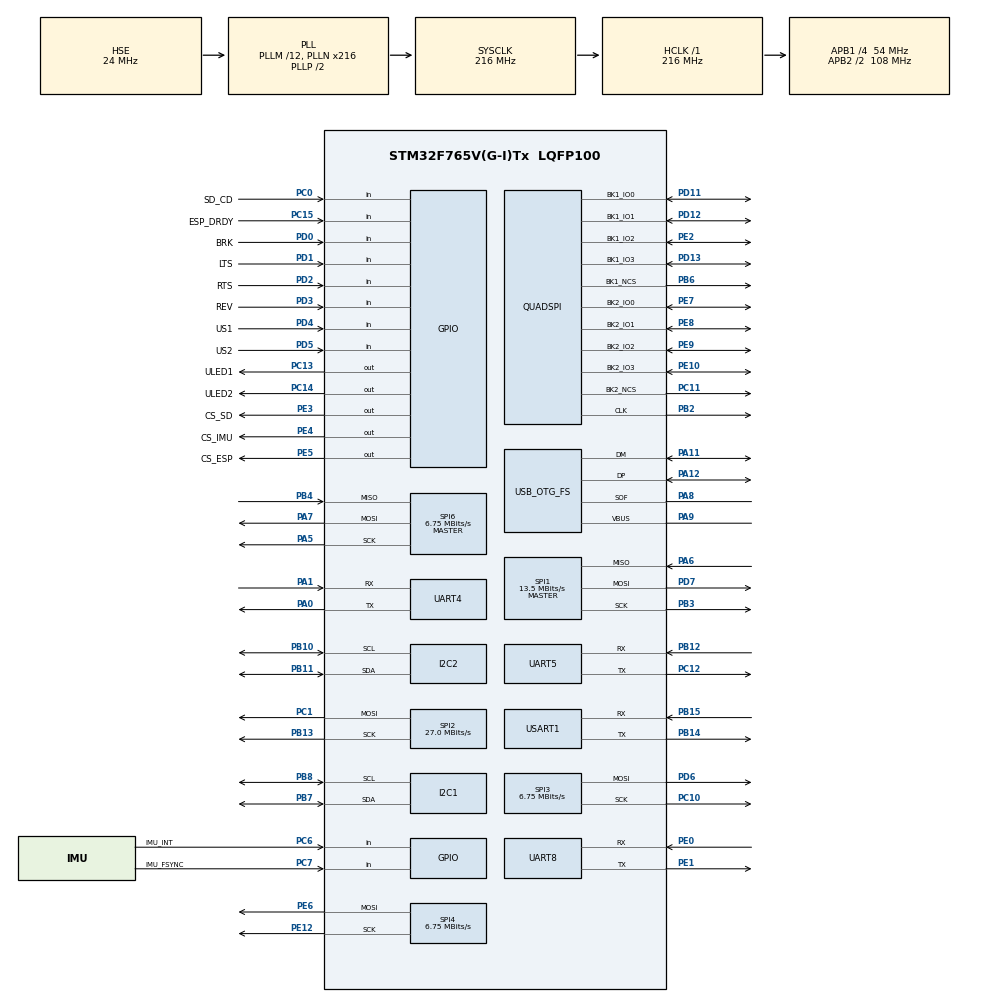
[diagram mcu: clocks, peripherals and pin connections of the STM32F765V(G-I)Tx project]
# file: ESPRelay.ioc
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FREERTOS.Tasks01=defaultTask,0,128,StartDefaultTask,Default,NULL
I2C1.Timing=0x20404768
I2C2.Timing=0x20404768
Mcu.Family=STM32F7
Mcu.Name=STM32F765V(G-I)Tx
Mcu.Package=LQFP100
NVIC.FLASH_IRQn=true\:5\:0\:false\:false\:true\:true\:true
NVIC.FPU_IRQn=true\:5\:0\:false\:false\:true\:true\:true
NVIC.I2C1_ER_IRQn=true\:5\:0\:false\:false\:true\:true\:true
NVIC.I2C1_EV_IRQn=true\:5\:0\:false\:false\:true\:true\:true
NVIC.I2C2_ER_IRQn=true\:5\:0\:false\:false\:true\:true\:true
NVIC.I2C2_EV_IRQn=true\:5\:0\:false\:false\:true\:true\:true
NVIC.OTG_FS_IRQn=true\:5\:0\:false\:false\:true\:true\:false
NVIC.PVD_IRQn=true\:5\:0\:false\:false\:true\:true\:true
NVIC.PriorityGroup=NVIC_PRIORITYGROUP_4
NVIC.QUADSPI_IRQn=true\:5\:0\:false\:false\:true\:true\:true
NVIC.RCC_IRQn=true\:5\:0\:false\:false\:true\:true\:true
NVIC.SPI1_IRQn=true\:5\:0\:false\:false\:true\:true\:true
NVIC.SPI2_IRQn=true\:5\:0\:false\:false\:true\:true\:true
NVIC.SPI3_IRQn=true\:5\:0\:false\:false\:true\:true\:true
NVIC.SPI4_IRQn=true\:5\:0\:false\:false\:true\:true\:true
NVIC.SPI6_IRQn=true\:5\:0\:false\:false\:true\:true\:true
NVIC.TIM7_IRQn=true\:0\:0\:false\:false\:true\:false\:false
NVIC.TimeBase=TIM7_IRQn
NVIC.TimeBaseIP=TIM7
NVIC.UART4_IRQn=true\:5\:0\:false\:false\:true\:true\:true
NVIC.UART5_IRQn=true\:5\:0\:false\:false\:true\:true\:true
NVIC.UART8_IRQn=true\:5\:0\:false\:false\:true\:true\:true
NVIC.USART1_IRQn=true\:5\:0\:false\:false\:true\:true\:true
PA0/WKUP.Mode=Asynchronous
PA0/WKUP.Signal=UART4_TX
PA1.Mode=Asynchronous
PA1.Signal=UART4_RX
PA11.Mode=Device_Only
PA11.Signal=USB_OTG_FS_DM
PA12.Mode=Device_Only
PA12.Signal=USB_OTG_FS_DP
PA13.Mode=Serial_Wire
PA13.Signal=SYS_JTMS-SWDIO
PA14.Mode=Serial_Wire
PA14.Signal=SYS_JTCK-SWCLK
PA5.Mode=Full_Duplex_Master
PA5.Signal=SPI6_SCK
PA6.Mode=Full_Duplex_Master
PA6.Signal=SPI1_MISO
PA7.Mode=Full_Duplex_Master
PA7.Signal=SPI6_MOSI
PA8.Mode=Activate_SOF_FS
PA8.Signal=USB_OTG_FS_SOF
PA9.Mode=Activate_VBUS
PA9.Signal=USB_OTG_FS_VBUS
PB10.Mode=I2C
PB10.Signal=I2C2_SCL
PB11.Mode=I2C
PB11.Signal=I2C2_SDA
PB12.Mode=Asynchronous
PB12.Signal=UART5_RX
PB13.Mode=TX_Only_Simplex_Unidirect_Master
PB13.Signal=SPI2_SCK
PB14.Mode=Asynchronous
PB14.Signal=USART1_TX
PB15.Mode=Asynchronous
PB15.Signal=USART1_RX
PB2.Mode=Dual Bank
PB2.Signal=QUADSPI_CLK
PB3.Mode=Full_Duplex_Master
PB3.Signal=SPI1_SCK
PB4.Mode=Full_Duplex_Master
PB4.Signal=SPI6_MISO
PB6.Mode=Enable Chip Select for each bank
PB6.Signal=QUADSPI_BK1_NCS
PB7.Mode=I2C
PB7.Signal=I2C1_SDA
PB8.Mode=I2C
PB8.Signal=I2C1_SCL
PC0.GPIO_Label=SD_CD
PC0.Signal=GPIO_Input
PC1.Mode=TX_Only_Simplex_Unidirect_Master
PC1.Signal=SPI2_MOSI
PC10.Mode=TX_Only_Simplex_Unidirect_Master
PC10.Signal=SPI3_SCK
PC11.Mode=Enable Chip Select for each bank
PC11.Signal=QUADSPI_BK2_NCS
PC12.Mode=Asynchronous
PC12.Signal=UART5_TX
PC13.GPIO_Label=ULED1
PC13.PinState=GPIO_PIN_SET
PC13.Signal=GPIO_Output
PC14/OSC32_IN.GPIO_Label=ULED2
PC14/OSC32_IN.GPIO_PuPd=GPIO_NOPULL
PC14/OSC32_IN.PinState=GPIO_PIN_SET
PC14/OSC32_IN.Signal=GPIO_Output
PC15/OSC32_OUT.GPIO_Label=ESP_DRDY
PC15/OSC32_OUT.Signal=GPIO_Input
PC6.GPIO_Label=IMU_INT
PC6.Signal=GPIO_Input
PC7.GPIO_Label=IMU_FSYNC
PC7.Signal=GPIO_Input
PD0.GPIO_Label=BRK
PD0.Signal=GPIO_Input
PD1.GPIO_Label=LTS
PD1.Signal=GPIO_Input
PD11.Mode=Dual Bank
PD11.Signal=QUADSPI_BK1_IO0
PD12.Mode=Dual Bank
PD12.Signal=QUADSPI_BK1_IO1
PD13.Mode=Dual Bank
PD13.Signal=QUADSPI_BK1_IO3
PD2.GPIO_Label=RTS
PD2.Signal=GPIO_Input
PD3.GPIO_Label=REV
PD3.Signal=GPIO_Input
PD4.GPIO_Label=US1
PD4.Signal=GPIO_Input
PD5.GPIO_Label=US2
PD5.Signal=GPIO_Input
PD6.Mode=TX_Only_Simplex_Unidirect_Master
PD6.Signal=SPI3_MOSI
PD7.Mode=Full_Duplex_Master
PD7.Signal=SPI1_MOSI
PE0.Mode=Asynchronous
PE0.Signal=UART8_RX
PE1.Mode=Asynchronous
PE1.Signal=UART8_TX
PE10.Mode=Dual Bank
PE10.Signal=QUADSPI_BK2_IO3
PE12.Mode=TX_Only_Simplex_Unidirect_Master
PE12.Signal=SPI4_SCK
PE2.Mode=Dual Bank
PE2.Signal=QUADSPI_BK1_IO2
PE3.GPIO_Label=CS_SD
PE3.GPIO_Speed=GPIO_SPEED_FREQ_VERY_HIGH
PE3.PinState=GPIO_PIN_SET
PE3.Signal=GPIO_Output
PE4.GPIO_Label=CS_IMU
PE4.GPIO_PuPd=GPIO_NOPULL
PE4.GPIO_Speed=GPIO_SPEED_FREQ_VERY_HIGH
PE4.PinState=GPIO_PIN_SET
PE4.Signal=GPIO_Output
PE5.GPIO_Label=CS_ESP
PE5.GPIO_PuPd=GPIO_NOPULL
PE5.GPIO_Speed=GPIO_SPEED_FREQ_VERY_HIGH
PE5.PinState=GPIO_PIN_SET
PE5.Signal=GPIO_Output
PE6.Mode=TX_Only_Simplex_Unidirect_Master
PE6.Signal=SPI4_MOSI
PE7.Mode=Dual Bank
PE7.Signal=QUADSPI_BK2_IO0
PE8.Mode=Dual Bank
PE8.Signal=QUADSPI_BK2_IO1
PE9.Mode=Dual Bank
PE9.Signal=QUADSPI_BK2_IO2
PH0/OSC_IN.Mode=HSE-External-Oscillator
PH0/OSC_IN.Signal=RCC_OSC_IN
PH1/OSC_OUT.Mode=HSE-External-Oscillator
PH1/OSC_OUT.Signal=RCC_OSC_OUT
ProjectManager.HeapSize=0x200
ProjectManager.StackSize=0x400
ProjectManager.TargetToolchain=TrueSTUDIO
QUADSPI.ClockMode=QSPI_CLOCK_MODE_3
QUADSPI.ClockPrescaler=64
RCC.AHBFreq_Value=216000000
RCC.APB1CLKDivider=RCC_HCLK_DIV4
RCC.APB1Freq_Value=54000000
RCC.APB1TimFreq_Value=108000000
RCC.APB2CLKDivider=RCC_HCLK_DIV2
RCC.APB2Freq_Value=108000000
RCC.APB2TimFreq_Value=216000000
RCC.CortexFreq_Value=216000000
RCC.HCLKFreq_Value=216000000
RCC.HSE_VALUE=24000000
RCC.HSI_VALUE=16000000
RCC.LSE_VALUE=32768
RCC.PLLM=12
RCC.PLLN=216
RCC.PLLQ=9
RCC.SYSCLKFreq_VALUE=216000000
RCC.SYSCLKSource=RCC_SYSCLKSOURCE_PLLCLK
RCC.USBFreq_Value=48000000
RCC.VCOOutputFreq_Value=432000000
SPI1.BaudRatePrescaler=SPI_BAUDRATEPRESCALER_8
SPI1.CLKPhase=SPI_PHASE_2EDGE
SPI1.CLKPolarity=SPI_POLARITY_HIGH
SPI1.CalculateBaudRate=13.5 MBits/s
SPI1.DataSize=SPI_DATASIZE_8BIT
SPI1.Direction=SPI_DIRECTION_2LINES
SPI1.Mode=SPI_MODE_MASTER
SPI1.VirtualType=VM_MASTER
SPI2.CalculateBaudRate=27.0 MBits/s
SPI2.Direction=SPI_DIRECTION_2LINES
SPI2.Mode=SPI_MODE_MASTER
SPI2.VirtualType=VM_MASTER
SPI3.BaudRatePrescaler=SPI_BAUDRATEPRESCALER_8
SPI3.CLKPhase=SPI_PHASE_2EDGE
SPI3.CLKPolarity=SPI_POLARITY_HIGH
SPI3.CalculateBaudRate=6.75 MBits/s
SPI3.DataSize=SPI_DATASIZE_8BIT
SPI3.Direction=SPI_DIRECTION_2LINES
SPI3.Mode=SPI_MODE_MASTER
SPI3.VirtualType=VM_MASTER
SPI4.BaudRatePrescaler=SPI_BAUDRATEPRESCALER_16
SPI4.CLKPhase=SPI_PHASE_2EDGE
SPI4.CLKPolarity=SPI_POLARITY_HIGH
SPI4.CalculateBaudRate=6.75 MBits/s
SPI4.DataSize=SPI_DATASIZE_8BIT
SPI4.Direction=SPI_DIRECTION_2LINES
SPI4.Mode=SPI_MODE_MASTER
SPI4.VirtualType=VM_MASTER
SPI6.BaudRatePrescaler=SPI_BAUDRATEPRESCALER_16
SPI6.CLKPhase=SPI_PHASE_2EDGE
SPI6.CLKPolarity=SPI_POLARITY_HIGH
SPI6.CalculateBaudRate=6.75 MBits/s
SPI6.DataSize=SPI_DATASIZE_8BIT
SPI6.Direction=SPI_DIRECTION_2LINES
SPI6.Mode=SPI_MODE_MASTER
SPI6.VirtualType=VM_MASTER
USART1.VirtualMode-Asynchronous=VM_ASYNC
USB_DEVICE.CLASS_NAME_FS=HID
USB_DEVICE.VirtualMode-HID_FS=Hid
USB_DEVICE.VirtualModeFS=Hid_FS
USB_OTG_FS.VirtualMode=Device_Only
VP_FREERTOS_VS_ENABLE.Mode=Enabled
VP_SYS_VS_tim7.Mode=TIM7
VP_USB_DEVICE_VS_USB_DEVICE_HID_FS.Mode=HID_FS
board=custom

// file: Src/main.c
/**
  ******************************************************************************
  * @file           : main.c
  * @brief          : Main program body
  ******************************************************************************
  * This notice applies to any and all portions of this file
  * that are not between comment pairs USER CODE BEGIN and
  * USER CODE END. Other portions of this file, whether
  * inserted by the user or by software development tools
  * are owned by their respective copyright owners.
  *
  * Copyright (c) 2018 STMicroelectronics International N.V.
  * All rights reserved.
  *
  * Redistribution and use in source and binary forms, with or without
  * modification, are permitted, provided that the following conditions are met:
  *
  * 1. Redistribution of source code must retain the above copyright notice,
  *    this list of conditions and the following disclaimer.
  * 2. Redistributions in binary form must reproduce the above copyright notice,
  *    this list of conditions and the following disclaimer in the documentation
  *    and/or other materials provided with the distribution.
  * 3. Neither the name of STMicroelectronics nor the names of other
  *    contributors to this software may be used to endorse or promote products
  *    derived from this software without specific written permission.
  * 4. This software, including modifications and/or derivative works of this
  *    software, must execute solely and exclusively on microcontroller or
  *    microprocessor devices manufactured by or for STMicroelectronics.
  * 5. Redistribution and use of this software other than as permitted under
  *    this license is void and will automatically terminate your rights under
  *    this license.
  *
  * THIS SOFTWARE IS PROVIDED BY STMICROELECTRONICS AND CONTRIBUTORS "AS IS"
  * AND ANY EXPRESS, IMPLIED OR STATUTORY WARRANTIES, INCLUDING, BUT NOT
  * LIMITED TO, THE IMPLIED WARRANTIES OF MERCHANTABILITY, FITNESS FOR A
  * PARTICULAR PURPOSE AND NON-INFRINGEMENT OF THIRD PARTY INTELLECTUAL PROPERTY
  * RIGHTS ARE DISCLAIMED TO THE FULLEST EXTENT PERMITTED BY LAW. IN NO EVENT
  * SHALL STMICROELECTRONICS OR CONTRIBUTORS BE LIABLE FOR ANY DIRECT, INDIRECT,
  * INCIDENTAL, SPECIAL, EXEMPLARY, OR CONSEQUENTIAL DAMAGES (INCLUDING, BUT NOT
  * LIMITED TO, PROCUREMENT OF SUBSTITUTE GOODS OR SERVICES; LOSS OF USE, DATA,
  * OR PROFITS; OR BUSINESS INTERRUPTION) HOWEVER CAUSED AND ON ANY THEORY OF
  * LIABILITY, WHETHER IN CONTRACT, STRICT LIABILITY, OR TORT (INCLUDING
  * NEGLIGENCE OR OTHERWISE) ARISING IN ANY WAY OUT OF THE USE OF THIS SOFTWARE,
  * EVEN IF ADVISED OF THE POSSIBILITY OF SUCH DAMAGE.
  *
  ******************************************************************************
  */
#include "main.h"
#include "stm32f7xx_hal.h"
#include "cmsis_os.h"
#include "i2c.h"
#include "quadspi.h"
#include "spi.h"
#include "usart.h"
#include "usb_device.h"
#include "gpio.h"

/* USER CODE BEGIN PV */
/* Private variables ---------------------------------------------------------*/

/* USER CODE END PV */

void SystemClock_Config(void);
void MX_FREERTOS_Init(void);

/* USER CODE BEGIN PFP */
/* Private function prototypes -----------------------------------------------*/

TaskHandle_t Relay_Task_Handle = NULL;
void Relay_Task(void* pvParameters )
{
	uint8_t rx_byte = 0;
	for(;;)
	{
		HAL_UART_Receive_IT(&huart4, &(rx_byte), 1);
		vTaskSuspend(NULL); // Task will suspend itself (NULL) until resumed externally (for example when UART ISR is called)
		HAL_UART_Transmit_IT(&huart4, &(rx_byte), 1);
		HAL_GPIO_TogglePin(ULED2_GPIO_Port, ULED2_Pin);
	}
}

TaskHandle_t Talk_Task_Handle = NULL;
void Talk_Task(void* pvParameters )
{
	TickType_t xDelay = 1000 / portTICK_PERIOD_MS;

	const uint8_t* msg = "Hello World!\n";
	for(;;)
	{
		vTaskDelay(xDelay);
		HAL_UART_Transmit_IT(&huart4, msg, sizeof(msg));
		HAL_GPIO_TogglePin(ULED1_GPIO_Port, ULED1_Pin);
	}
}

/* USER CODE END PFP */

int main(void)
{

  /* MCU Configuration----------------------------------------------------------*/

  /* Reset of all peripherals, Initializes the Flash interface and the Systick. */
  HAL_Init();

  /* Configure the system clock */
  SystemClock_Config();

  /* Initialize all configured peripherals */
  MX_GPIO_Init();
  MX_UART4_Init();
  MX_UART5_Init();
  MX_UART8_Init();
  MX_SPI1_Init();
  MX_SPI6_Init();
  MX_SPI3_Init();
  MX_SPI4_Init();
  MX_QUADSPI_Init();
  MX_I2C1_Init();
  MX_I2C2_Init();
  MX_SPI2_Init();
  MX_USART1_UART_Init();
  /* USER CODE BEGIN 2 */

  HAL_UART_MspInit(&huart4);

  xTaskCreate(Relay_Task,
  		  (const char* const)"Relay",
  		  configMINIMAL_STACK_SIZE,
  		  0,
  		  3,
  		  &Relay_Task_Handle);

  xTaskCreate(Talk_Task,
  		  (const char* const)"Talk",
  		  configMINIMAL_STACK_SIZE,
  		  0,
  		  3,
  		  &Talk_Task_Handle);
  /* USER CODE END 2 */

  /* Call init function for freertos objects (in freertos.c) */
  MX_FREERTOS_Init();

  /* Start scheduler */
  osKernelStart();

  /* We should never get here as control is now taken by the scheduler */

  /* Infinite loop */
  while (1)
  {

  }

}

void SystemClock_Config(void)
{

  RCC_OscInitTypeDef RCC_OscInitStruct;
  RCC_ClkInitTypeDef RCC_ClkInitStruct;
  RCC_PeriphCLKInitTypeDef PeriphClkInitStruct;

    /**Configure the main internal regulator output voltage
    */
  __HAL_RCC_PWR_CLK_ENABLE();

  __HAL_PWR_VOLTAGESCALING_CONFIG(PWR_REGULATOR_VOLTAGE_SCALE1);

    /**Initializes the CPU, AHB and APB busses clocks
    */
  RCC_OscInitStruct.OscillatorType = RCC_OSCILLATORTYPE_HSE;
  RCC_OscInitStruct.HSEState = RCC_HSE_ON;
  RCC_OscInitStruct.PLL.PLLState = RCC_PLL_ON;
  RCC_OscInitStruct.PLL.PLLSource = RCC_PLLSOURCE_HSE;
  RCC_OscInitStruct.PLL.PLLM = 12;
  RCC_OscInitStruct.PLL.PLLN = 216;
  RCC_OscInitStruct.PLL.PLLP = RCC_PLLP_DIV2;
  RCC_OscInitStruct.PLL.PLLQ = 9;
  if (HAL_RCC_OscConfig(&RCC_OscInitStruct) != HAL_OK)
  {
    _Error_Handler(__FILE__, __LINE__);
  }

    /**Activate the Over-Drive mode
    */
  if (HAL_PWREx_EnableOverDrive() != HAL_OK)
  {
    _Error_Handler(__FILE__, __LINE__);
  }

    /**Initializes the CPU, AHB and APB busses clocks
    */
  RCC_ClkInitStruct.ClockType = RCC_CLOCKTYPE_HCLK|RCC_CLOCKTYPE_SYSCLK
                              |RCC_CLOCKTYPE_PCLK1|RCC_CLOCKTYPE_PCLK2;
  RCC_ClkInitStruct.SYSCLKSource = RCC_SYSCLKSOURCE_PLLCLK;
  RCC_ClkInitStruct.AHBCLKDivider = RCC_SYSCLK_DIV1;
  RCC_ClkInitStruct.APB1CLKDivider = RCC_HCLK_DIV4;
  RCC_ClkInitStruct.APB2CLKDivider = RCC_HCLK_DIV2;

  if (HAL_RCC_ClockConfig(&RCC_ClkInitStruct, FLASH_LATENCY_7) != HAL_OK)
  {
    _Error_Handler(__FILE__, __LINE__);
  }

  PeriphClkInitStruct.PeriphClockSelection = RCC_PERIPHCLK_USART1|RCC_PERIPHCLK_UART4
                              |RCC_PERIPHCLK_UART5|RCC_PERIPHCLK_UART8
                              |RCC_PERIPHCLK_I2C1|RCC_PERIPHCLK_I2C2
                              |RCC_PERIPHCLK_CLK48;
  PeriphClkInitStruct.Usart1ClockSelection = RCC_USART1CLKSOURCE_PCLK2;
  PeriphClkInitStruct.Uart4ClockSelection = RCC_UART4CLKSOURCE_PCLK1;
  PeriphClkInitStruct.Uart5ClockSelection = RCC_UART5CLKSOURCE_PCLK1;
  PeriphClkInitStruct.Uart8ClockSelection = RCC_UART8CLKSOURCE_PCLK1;
  PeriphClkInitStruct.I2c1ClockSelection = RCC_I2C1CLKSOURCE_PCLK1;
  PeriphClkInitStruct.I2c2ClockSelection = RCC_I2C2CLKSOURCE_PCLK1;
  PeriphClkInitStruct.Clk48ClockSelection = RCC_CLK48SOURCE_PLL;
  if (HAL_RCCEx_PeriphCLKConfig(&PeriphClkInitStruct) != HAL_OK)
  {
    _Error_Handler(__FILE__, __LINE__);
  }

    /**Configure the Systick interrupt time
    */
  HAL_SYSTICK_Config(HAL_RCC_GetHCLKFreq()/1000);

    /**Configure the Systick
    */
  HAL_SYSTICK_CLKSourceConfig(SYSTICK_CLKSOURCE_HCLK);

  /* SysTick_IRQn interrupt configuration */
  HAL_NVIC_SetPriority(SysTick_IRQn, 15, 0);
}

/* USER CODE BEGIN 4 */

void HAL_UART_RxCpltCallback(UART_HandleTypeDef * huart)
{
	BaseType_t checkIfYieldRequired = xTaskResumeFromISR( Relay_Task_Handle ); // Check if need to yield
	portYIELD_FROM_ISR( checkIfYieldRequired );
}
void HAL_UART_TxCpltCallback(UART_HandleTypeDef * huart)
{

}

/* USER CODE END 4 */

void HAL_TIM_PeriodElapsedCallback(TIM_HandleTypeDef *htim)
{
  if (htim->Instance == TIM7) {
    HAL_IncTick();
  }
}

void _Error_Handler(char *file, int line)
{
  while(1)
  {
  }
}

/************************ (C) COPYRIGHT STMicroelectronics *****END OF FILE****/
